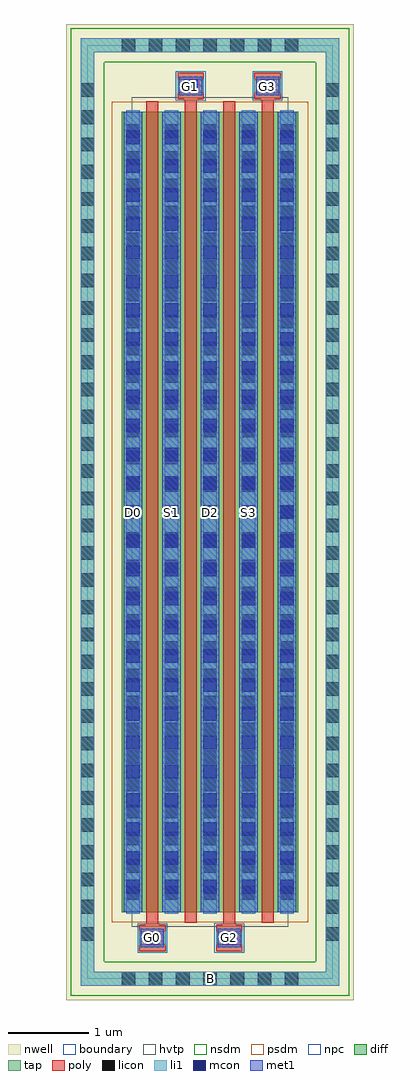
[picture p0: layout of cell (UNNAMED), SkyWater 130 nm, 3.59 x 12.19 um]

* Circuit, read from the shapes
.subckt (UNNAMED) B D0 D2 G0 G1 G2 G3 S1 S3
XM1 S1 G0 D0 B sky130_fd_pr__pfet_01v8_hvt w=10 l=0.15
XM2 D2 G1 S1 B sky130_fd_pr__pfet_01v8_hvt w=10 l=0.15
XM3 S3 G2 D2 B sky130_fd_pr__pfet_01v8_hvt w=10 l=0.15
XM4 n1 G3 S3 B sky130_fd_pr__pfet_01v8_hvt w=10 l=0.15
.ends

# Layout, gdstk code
import gdstk
lib = gdstk.Library(unit=1e-6, precision=1e-09)
def R(c, l, rs):  # rectangles x0, y0, x1, y1
    for r in rs: c.add(gdstk.rectangle(r[:2], r[2:], *l))
def A(c, l, x, y, w, h, nx, ny, dx, dy):  # array of equal rectangles
    R(c, l, [(x+i*dx, y+j*dy, x+i*dx+w, y+j*dy+h) for i in range(nx) for j in range(ny)])
nwell = (64, 20)
diff = (65, 20)
tap = (65, 44)
poly = (66, 20)
licon = (66, 44)
li1 = (67, 20)
mcon = (67, 44)
met1 = (68, 20)
hvtp = (78, 44)
nsdm = (93, 44)
psdm = (94, 20)
npc = (95, 20)
boundary = (235, 4)

c__unnamed_ = lib.new_cell('(UNNAMED)')
R(c__unnamed_, nwell, [(-1.795,-6.095,1.795,6.095)])
R(c__unnamed_, diff, [(-1.105,-5,1.105,5)])
R(c__unnamed_, tap, [(-1.615,-5.915,1.615,-5.745), (-1.615,-5.745,-1.445,5.745), (1.445,-5.745,1.615,5.745), (-1.615,5.745,1.615,5.915)])
R(c__unnamed_, poly, [(-0.885,-5.485,-0.555,-5.155), (0.075,-5.485,0.405,-5.155), (-0.795,-5.155,-0.645,5.13), (0.165,-5.155,0.315,5.13), (-0.315,-5.13,-0.165,5.155), (0.645,-5.13,0.795,5.155), (-0.405,5.155,-0.075,5.485), (0.555,5.155,0.885,5.485)])
A(c__unnamed_, licon, -1.105, -5.915, 0.17, 0.17, 7, 2, 0.34, 11.66)
A(c__unnamed_, licon, -1.615, -5.355, 0.17, 0.17, 1, 32, 0, 0.34)
A(c__unnamed_, licon, 1.445, -5.355, 0.17, 0.17, 1, 32, 0, 0.34)
A(c__unnamed_, licon, -1.045, -4.845, 0.17, 0.17, 5, 29, 0.48, 0.34)
R(c__unnamed_, licon, [(-0.805,-5.405,-0.635,-5.235), (0.155,-5.405,0.325,-5.235), (-0.325,5.235,-0.155,5.405), (0.635,5.235,0.805,5.405)])
A(c__unnamed_, li1, -1.045, -5.02, 0.17, 10.04, 5, 1, 0.48, 0)
R(c__unnamed_, li1, [(-1.615,-5.915,1.615,-5.745), (-1.615,-5.745,-1.445,5.745), (1.445,-5.745,1.615,5.745), (-0.885,-5.405,-0.555,-5.235), (0.075,-5.405,0.405,-5.235), (-0.405,5.235,-0.075,5.405), (0.555,5.235,0.885,5.405), (-1.615,5.745,1.615,5.915)])
A(c__unnamed_, mcon, -1.045, -4.765, 0.17, 0.17, 5, 27, 0.48, 0.36)
R(c__unnamed_, mcon, [(-0.805,-5.405,-0.635,-5.235), (0.155,-5.405,0.325,-5.235), (-0.325,5.235,-0.155,5.405), (0.635,5.235,0.805,5.405)])
A(c__unnamed_, met1, -1.075, -5, 0.23, 10, 5, 1, 0.48, 0)
R(c__unnamed_, met1, [(-0.865,-5.435,-0.575,-5.205), (0.095,-5.435,0.385,-5.205), (-0.385,5.205,-0.095,5.435), (0.575,5.205,0.865,5.435)])
R(c__unnamed_, hvtp, [(-0.975,-5.18,0.975,5.18)])
R(c__unnamed_, nsdm, [(-1.74,-6.04,1.74,-5.62), (-1.74,-5.62,-1.32,5.62), (1.32,-5.62,1.74,5.62), (-1.74,5.62,1.74,6.04)])
R(c__unnamed_, psdm, [(-1.23,-5.125,1.23,5.125)])
R(c__unnamed_, npc, [(-0.905,-5.505,-0.535,-5.135), (0.055,-5.505,0.425,-5.135), (-0.425,5.135,-0.055,5.505), (0.535,5.135,0.905,5.505)])
R(c__unnamed_, boundary, [(-1.53,-5.83,1.53,5.83)])
c__unnamed_.add(gdstk.Label('B', (0,-5.83), layer=67, texttype=5))
c__unnamed_.add(gdstk.Label('D0', (-0.96,0), layer=67, texttype=5))
c__unnamed_.add(gdstk.Label('G0', (-0.72,-5.32), layer=67, texttype=5))
c__unnamed_.add(gdstk.Label('S1', (-0.48,0), layer=67, texttype=5))
c__unnamed_.add(gdstk.Label('G1', (-0.24,5.32), layer=67, texttype=5))
c__unnamed_.add(gdstk.Label('D2', (0,0), layer=67, texttype=5))
c__unnamed_.add(gdstk.Label('G2', (0.24,-5.32), layer=67, texttype=5))
c__unnamed_.add(gdstk.Label('S3', (0.48,0), layer=67, texttype=5))
c__unnamed_.add(gdstk.Label('G3', (0.72,5.32), layer=67, texttype=5))

lib.write_gds('_UNNAMED_.gds')
